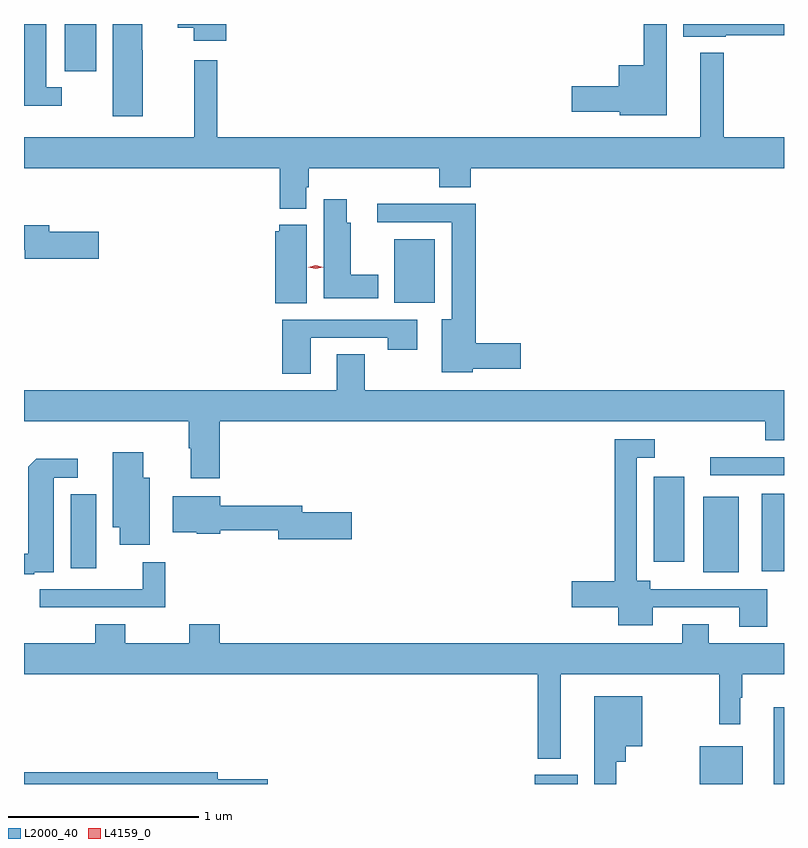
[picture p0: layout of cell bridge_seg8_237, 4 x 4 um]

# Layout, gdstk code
import gdstk
lib = gdstk.Library(unit=1e-6, precision=1e-09)
def R(c, l, rs):  # rectangles x0, y0, x1, y1
    for r in rs: c.add(gdstk.rectangle(r[:2], r[2:], *l))
def P(c, l, *ps):  # polygons
    for p in ps: c.add(gdstk.Polygon(p, *l))
L2000_40 = (2000, 40)
L4159_0 = (4159, 0)

bridge_seg8_237 = lib.new_cell('bridge_seg8_237')
R(bridge_seg8_237, L2000_40, [(291.236,1134.571,291.463,1134.619), (292.106,1134.571,292.333,1134.769), (292.496,1134.571,292.549,1134.976), (292.124,1135.685,292.312,1136.083), (292.433,1135.691,292.549,1136.098), (288.794,1135.706,288.928,1136.095), (291.863,1135.74,292.024,1136.188), (292.161,1136.196,292.549,1136.292), (290.498,1137.104,290.71,1137.439), (288.764,1138.323,288.928,1138.571)])
P(bridge_seg8_237, L2000_40, [(289.174,1138.434),(289.171,1138.434),(289.171,1138.571),(289.016,1138.571),(289.016,1138.086),(289.174,1138.086)],
  [(288.748,1138.239),(288.666,1138.239),(288.666,1138.571),(288.55,1138.571),(288.55,1138.142),(288.748,1138.142)],
  [(291.931,1138.571),(291.81,1138.571),(291.81,1138.354),(291.68,1138.354),(291.68,1138.244),(291.432,1138.244),(291.432,1138.109),(291.684,1138.109),(291.684,1138.091),(291.931,1138.091)],
  [(289.613,1138.571),(289.358,1138.571),(289.358,1138.55),(289.442,1138.55),(289.442,1138.482),(289.613,1138.482)],
  [(292.242,1138.511),(292.549,1138.511),(292.549,1138.571),(292.019,1138.571),(292.019,1138.505),(292.242,1138.505)],
  [(290.035,1137.711),(290.048,1137.711),(290.048,1137.812),(290.735,1137.812),(290.735,1137.713),(290.9,1137.713),(290.9,1137.812),(292.549,1137.812),(292.549,1137.976),(292.231,1137.976),(292.231,1138.42),(292.109,1138.42),(292.109,1137.976),(289.565,1137.976),(289.565,1138.381),(289.444,1138.381),(289.444,1137.976),(288.549,1137.976),(288.549,1137.812),(289.895,1137.812),(289.895,1137.599),(290.035,1137.599)],
  [(290.413,1137.25),(290.269,1137.25),(290.269,1137.525),(290.248,1137.525),(290.248,1137.649),(290.126,1137.649),(290.126,1137.128),(290.413,1137.128)],
  [(290.91,1136.756),(291.163,1136.756),(291.163,1136.891),(290.927,1136.891),(290.927,1137.626),(290.409,1137.626),(290.409,1137.528),(290.801,1137.528),(290.801,1137.016),(290.747,1137.016),(290.747,1136.738),(290.91,1136.738)],
  [(290.038,1137.514),(289.892,1137.514),(289.892,1137.48),(289.871,1137.48),(289.871,1137.1),(290.038,1137.1)],
  [(288.943,1137.477),(288.682,1137.477),(288.682,1137.511),(288.549,1137.511),(288.549,1137.382),(288.554,1137.382),(288.554,1137.335),(288.943,1137.335)],
  [(290.059,1136.919),(290.464,1136.919),(290.464,1136.856),(290.62,1136.856),(290.62,1137.015),(289.907,1137.015),(289.907,1136.73),(290.059,1136.73)],
  [(289.58,1136.48),(292.451,1136.48),(292.451,1136.381),(292.549,1136.381),(292.549,1136.644),(290.343,1136.644),(290.343,1136.834),(290.195,1136.834),(290.195,1136.644),(288.549,1136.644),(288.549,1136.48),(289.415,1136.48),(289.415,1136.339),(289.427,1136.339),(289.427,1136.181),(289.58,1136.181)],
  [(292.461,1135.596),(291.844,1135.596),(291.844,1135.642),(291.774,1135.642),(291.774,1136.289),(291.868,1136.289),(291.868,1136.385),(291.658,1136.385),(291.658,1135.637),(291.432,1135.637),(291.432,1135.502),(291.677,1135.502),(291.677,1135.406),(291.859,1135.406),(291.859,1135.5),(292.313,1135.5),(292.313,1135.398),(292.461,1135.398)],
  [(289.21,1136.182),(289.177,1136.182),(289.177,1136.317),(289.016,1136.317),(289.016,1135.922),(289.052,1135.922),(289.052,1135.83),(289.21,1135.83)],
  [(288.602,1135.686),(288.706,1135.686),(288.706,1136.184),(288.832,1136.184),(288.832,1136.282),(288.613,1136.282),(288.572,1136.24),(288.572,1135.782),(288.549,1135.782),(288.549,1135.674),(288.602,1135.674)],
  [(290.275,1136.001),(290.014,1136.001),(290.014,1136.035),(289.582,1136.035),(289.582,1136.086),(289.331,1136.086),(289.331,1135.895),(289.457,1135.895),(289.457,1135.888),(289.582,1135.888),(289.582,1135.906),(289.886,1135.906),(289.886,1135.859),(290.275,1135.859)],
  [(289.292,1135.738),(289.174,1135.738),(289.174,1135.596),(288.633,1135.596),(288.633,1135.5),(289.292,1135.5)],
  [(291.373,1135.148),(292.209,1135.148),(292.209,1134.885),(292.318,1134.885),(292.318,1135.025),(292.33,1135.025),(292.33,1135.148),(292.549,1135.148),(292.549,1135.312),(292.153,1135.312),(292.153,1135.411),(292.013,1135.411),(292.013,1135.312),(289.58,1135.312),(289.58,1135.411),(289.42,1135.411),(289.42,1135.312),(289.083,1135.312),(289.083,1135.411),(288.923,1135.411),(288.923,1135.312),(288.549,1135.312),(288.549,1135.148),(291.252,1135.148),(291.252,1134.704),(291.373,1134.704)],
  [(291.665,1134.689),(291.717,1134.689),(291.717,1134.77),(291.802,1134.77),(291.802,1135.033),(291.551,1135.033),(291.551,1134.571),(291.665,1134.571)],
  [(289.831,1134.596),(289.57,1134.596),(289.57,1134.632),(288.549,1134.632),(288.549,1134.571),(289.831,1134.571)])
P(bridge_seg8_237, L4159_0, [(290.084,1137.282),(290.044,1137.292),(290.044,1137.292),(290.044,1137.292),(290.084,1137.302),(290.123,1137.292),(290.123,1137.292),(290.123,1137.292)])

lib.write_gds('bridge_seg8_237.gds')
